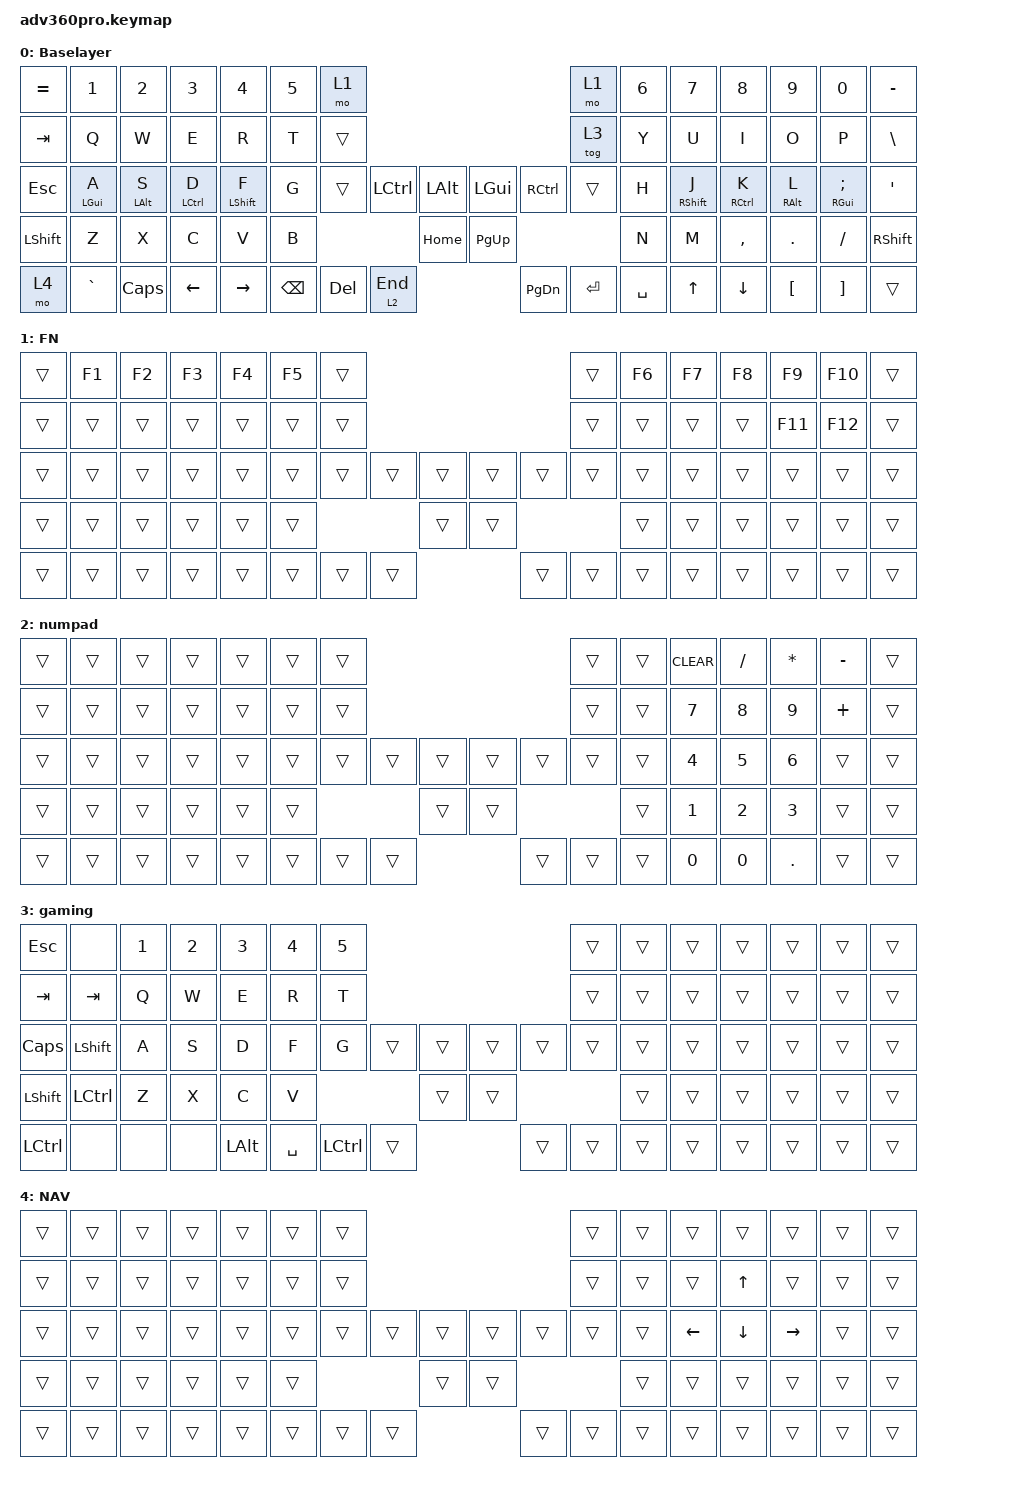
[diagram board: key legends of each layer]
/* source keypos definitions */

#include "../zmk-nodefree-config/keypos_def/keypos_adv360.h"

/* map 360's extra keys */
#define KEYS_L 0 1 2 3 4 5 6 14 15 16 17 18 19 20 28 29 30 31 32 33 34 46 47 48 49 50 51 60 61 62 63 64
#define KEYS_R 7 8 9 10 11 12 13 21 22 23 24 25 26 27 39 40 41 42 43 44 45 54 55 56 57 58 59 71 72 73 74 75
#define THUMBS 35 36 52 65 66 67 37 38 53 68 69 70
// #define X_LT    &kp EQUAL &kp F1 &kp F2 &kp F3 &kp F4 &kp F5 &kp F11     &kp F12 &kp F6 &kp F7 &kp F8 &kp F9 &kp F10 &kp MINUS \
//                 &kp TAB
// #define X_MT    &none &none
// #define X_RT    &kp BSLH
// #define X_LM    &kp ESC
// #define X_MM    &none &none
// #define X_RM    &kp SQT
// #define X_LB    &kp LSHFT
// #define X_RB    &kp RSHFT
// #define X_LH    &none &kp GRAVE &kp CAPS &kp LEFT &kp RIGHT     &kp UP &kp DOWN U_WH_D U_WH_U &none \
//                 &kp LCTRL &kp LALT      &kp LGUI  &kp RCTRL
// #define X_MH    &kp HOME    &kp PG_UP
// #define X_RH    &kp END     &kp PG_DN

/* activate bluetooth */

#define CONFIG_WIRELESS 1
#define XXX &none
#define ___ &trans

/* Global settings */
#define QUICK_TAP_MS 75

#define HM_TAPPING_TERM 300
#define HM_TAPPING_TERM_FAST 200
#define HM_PRIOR_IDLE 150

// use require-prior-idle-ms for combos
#undef COMBO_HOOK
#define COMBO_HOOK require-prior-idle-ms = <150>;

#define COMBO_TERM_FAST 18
#define COMBO_TERM_SLOW 30

// // make homerow combos tap-only (so HRMs can be chorded instantaneously)
// #define HRC_TAB    &hml         LA(LCTRL) TAB
// #define HRC_REPEAT &hml_repeat  LS(LCTRL) 0
// #define HRC_LPAR   &hmr_lpar_lt RS(LCTRL) 0
// #define HRC_RPAR   &hmr_rpar_gt LA(LCTRL) 0

/* leds and backlights */
/* source the main keymap */

#include <behaviors.dtsi>
// #include <combos.dtsi>
#include <dt-bindings/zmk/keys.h>

/* use urob's layout for Advantage 360 pro */

/ {
    behaviors {
        /* Positional Homerow mods
         * Homerow mods that prevent accidental activations when rolling keys,
         * such as when typing `st` or `ne` on colemak-dh layouts or `as` on
         * qwerty.
         *
         * Works by only allowing a mod to activate within tapping-term if
         * it's on the opposite side of the keyboard or on the same side thumb
         * keys.
         * Further optimization using urob's timerless homerow mods method:
         * https://github.com/urob/zmk-config#timeless-homerow-mods
         */ 

        hm_l: homerow_mods_left {
            compatible = "zmk,behavior-hold-tap";
            label = "HML";
            #binding-cells = <2>;
            bindings = <&kp>, <&kp>;

            tapping-term-ms = <HM_TAPPING_TERM>;
            quick-tap-ms = <175>;
            flavor = "balanced";
            require-prior-idle-ms = <HM_PRIOR_IDLE>;
            hold-trigger-key-positions = <KEYS_R THUMBS>;
            hold-trigger-on-release;
        };

        hm_r: homerow_mods_right {
            compatible = "zmk,behavior-hold-tap";
            label = "HMR";
            #binding-cells = <2>;
            bindings = <&kp>, <&kp>;

            flavor = "balanced";
            tapping-term-ms = <HM_TAPPING_TERM>;
            quick-tap-ms = <175>;
            require-prior-idle-ms = <HM_PRIOR_IDLE>;
            hold-trigger-key-positions = <KEYS_L THUMBS>;
            hold-trigger-on-release;
        };

        // Positional Homerow mods for shift
        // Use faster tapping term and disable some features that may
        // cause false negatives.

        hm_shift_l: hm_shift_l {
            compatible = "zmk,behavior-hold-tap";
            label = "HM_SHFT_L";
            #binding-cells = <2>;
            bindings = <&kp>, <&kp>;

            flavor = "balanced";
            tapping-term-ms = <HM_TAPPING_TERM_FAST>;
            quick-tap-ms = <175>;
            require-prior-idle-ms = <HM_PRIOR_IDLE>;
            hold-trigger-key-positions = <KEYS_R THUMBS>;
            hold-trigger-on-release;
        };

        hm_shift_r: hm_shift_r {
            compatible = "zmk,behavior-hold-tap";
            label = "HM_SHFT_R";
            #binding-cells = <2>;
            bindings = <&kp>, <&kp>;

            flavor = "balanced";
            tapping-term-ms = <HM_TAPPING_TERM_FAST>;
            quick-tap-ms = <175>;
            require-prior-idle-ms = <HM_PRIOR_IDLE>;
            hold-trigger-key-positions = <KEYS_L THUMBS>;
            hold-trigger-on-release;
        };

        /*
         * Non-Positional Homerow Mods
         * Used for &mm_grescm_gui behavior on left hand.
         *
         * Usage: &hm LSHFT T
         * Tap: T
         * Tap-Tap-Hold: Repeat T
         * Hold: LSHIFT
         */
        // hm: homerow_mods {
        //     compatible = "zmk,behavior-hold-tap";
        //     #binding-cells = <2>;
        //     bindings = <&kp>, <&kp>;
        //     flavor = "balanced";
        //     tapping-term-ms = <HM_TAPPING_TERM>;
        //     quick-tap-ms = <200>;
        // };
    };

    // combos {
    //     compatible = "zmk,combos";

    //     Tab {
    //         bindings = <&kp TAB>;
    //         key-positions = <31 30>;
    //     };

    //     Copy {
    //         bindings = <&kp LC(C)>;
    //         key-positions = <48 49>;
    //     };

    //     Paste {
    //         bindings = <&kp LC(V)>;
    //         key-positions = <49 50>;
    //     };

    //     Enter {
    //         bindings = <&kp ENTER>;
    //         key-positions = <18 17>;
    //     };

    //     Escape {
    //         bindings = <&kp ESCAPE>;
    //         key-positions = <17 16>;
    //     };
    // };

    keymap {
        compatible = "zmk,keymap";

        //  QWERTY KEY POSITIONS
        // ╭───────────────────────────╮             ╭────────────────────────────╮
        // │     1   2   3   4   5  MO1│             |MO1  6   7   8   9   0   -  |
        // │TAB  Q   W   E   R   T     │             │     Y   U   I   O   P   \  │
        // │ESC  A   S   D   F   G ╭───╯             ╰───╮ H   J   K   L   ;   '  │
        // │SHF  Z   X   C   V   B │ ╭───────╮ ╭───────╮ | N   M   ,   .   /  SHF │
        // │     `  CAP  ⮜  ⮞ ╭───╯╭╯CTL ALT│ │WIN CTL╰╮╰───╮ ⮝  ⮟   [   ]      |
        // ╰───────────────────╯╭ BK_ DEL HME│ │PGU RET SPC ╮╰────────────────────╯
        //                      | BK_ DEL END| |PGD RET SPC |
        //                      ╰────────────╯ ╰────────────╯

        Baselayer {
            bindings = <
&kp EQUAL  &kp N1            &kp N2            &kp N3         &kp N4                    &kp N5  &mo 1                                                                      &mo 1   &kp N6  &kp N7                     &kp N8         &kp N9             &kp N0                     &kp MINUS
&kp TAB    &kp Q             &kp W             &kp E          &kp R                     &kp T   &trans                                                                     &tog 3  &kp Y   &kp U                      &kp I          &kp O              &kp P                      &kp BSLH
&kp ESC    &hm_l LEFT_GUI A  &hm_l LEFT_ALT S  &hm_l LCTRL D  &hm_shift_l LEFT_SHIFT F  &kp G   &trans            &kp LCTRL  &kp LALT     &kp LGUI   &kp RCTRL             &trans  &kp H   &hm_shift_r RIGHT_SHIFT J  &hm_r RCTRL K  &hm_r RIGHT_ALT L  &hm_r RIGHT_GUI SEMICOLON  &kp APOS
&kp LSHFT  &kp Z             &kp X             &kp C          &kp V                     &kp B                                &kp HOME     &kp PG_UP                                &kp N   &kp M                      &kp COMMA      &kp DOT            &kp FSLH                   &kp RSHFT
&mo 4      &kp GRAVE         &kp CAPS          &kp LEFT       &kp RIGHT                                 &kp BSPC  &kp DEL    &lt 2 END    &kp PG_DN  &kp ENTER  &kp SPACE                  &kp UP                     &kp DOWN       &kp LBKT           &kp RBKT                   &trans
            >;
        };

        FN {
            bindings = <
&trans  &kp F1  &kp F2  &kp F3  &kp F4  &kp F5  &trans                                                    &trans  &kp F6  &kp F7  &kp F8  &kp F9   &kp F10  &trans
&trans  &trans  &trans  &trans  &trans  &trans  &trans                                                    &trans  &trans  &trans  &trans  &kp F11  &kp F12  &trans
&trans  &trans  &trans  &trans  &trans  &trans  &trans          &trans  &trans    &trans  &trans          &trans  &trans  &trans  &trans  &trans   &trans   &trans
&trans  &trans  &trans  &trans  &trans  &trans                          &trans    &trans                          &trans  &trans  &trans  &trans   &trans   &trans
&trans  &trans  &trans  &trans  &trans                  &trans  &trans  &trans    &trans  &trans  &trans                  &trans  &trans  &trans   &trans   &trans
            >;
        };

        numpad {
            bindings = <
&trans  &trans  &trans  &trans  &trans  &trans  &trans                                                    &trans  &trans  &kp CLEAR  &kp FSLH  &kp ASTERISK  &kp MINUS  &trans
&trans  &trans  &trans  &trans  &trans  &trans  &trans                                                    &trans  &trans  &kp N7     &kp N8    &kp N9        &kp PLUS   &trans
&trans  &trans  &trans  &trans  &trans  &trans  &trans          &trans  &trans    &trans  &trans          &trans  &trans  &kp N4     &kp N5    &kp N6        &trans     &trans
&trans  &trans  &trans  &trans  &trans  &trans                          &trans    &trans                          &trans  &kp N1     &kp N2    &kp N3        &trans     &trans
&trans  &trans  &trans  &trans  &trans                  &trans  &trans  &trans    &trans  &trans  &trans                  &kp N0     &kp N0    &kp DOT       &trans     &trans
            >;
        };

        gaming {
            bindings = <
&kp ESC    &none      &kp N1  &kp N2  &kp N3  &kp N4  &kp N5                                                          &trans  &trans  &trans  &trans  &trans  &trans  &trans
&kp TAB    &kp TAB    &kp Q   &kp W   &kp E   &kp R   &kp T                                                           &trans  &trans  &trans  &trans  &trans  &trans  &trans
&kp CAPS   &kp LSHFT  &kp A   &kp S   &kp D   &kp F   &kp G              &trans     &trans    &trans  &trans          &trans  &trans  &trans  &trans  &trans  &trans  &trans
&kp LSHFT  &kp LCTRL  &kp Z   &kp X   &kp C   &kp V                                 &trans    &trans                          &trans  &trans  &trans  &trans  &trans  &trans
&kp LCTRL  &none      &none   &none   &kp LALT                &kp SPACE  &kp LCTRL  &trans    &trans  &trans  &trans                  &trans  &trans  &trans  &trans  &trans
            >;
        };

        NAV {
            bindings = <
&trans  &trans  &trans  &trans  &trans  &trans  &trans                                                    &trans  &trans  &trans          &trans          &trans           &trans  &trans
&trans  &trans  &trans  &trans  &trans  &trans  &trans                                                    &trans  &trans  &trans          &kp UP_ARROW    &trans           &trans  &trans
&trans  &trans  &trans  &trans  &trans  &trans  &trans          &trans  &trans    &trans  &trans          &trans  &trans  &kp LEFT_ARROW  &kp DOWN_ARROW  &kp RIGHT_ARROW  &trans  &trans
&trans  &trans  &trans  &trans  &trans  &trans                          &trans    &trans                          &trans  &trans          &trans          &trans           &trans  &trans
&trans  &trans  &trans  &trans  &trans                  &trans  &trans  &trans    &trans  &trans  &trans                  &trans          &trans          &trans           &trans  &trans
            >;
        };
    };
};
